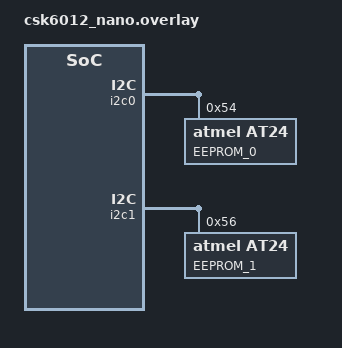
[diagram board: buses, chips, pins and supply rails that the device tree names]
/*
 * Copyright (c) 2023 Anhui(Shenzhen) Listenai Co., Ltd.
 *
 * SPDX-License-Identifier: Apache-2.0
 */
&pinctrl {
	/* I2C alternate function */
	pinctrl_i2c0_scl_default: i2c0_scl_default{
		pinctrls = <I2C0_SCL_GPIOA_10>;
	};

	pinctrl_i2c0_sda_default: i2c0_sda_default{
		pinctrls = <I2C0_SDA_GPIOA_11>;
	};

	pinctrl_i2c1_scl_default: i2c1_scl_default{
		pinctrls = <I2C1_SCL_GPIOA_13>;
	};

	pinctrl_i2c1_sda_default: i2c1_sda_default{
		pinctrls = <I2C1_SDA_GPIOA_12>;
	};

};

&i2c0 {
	status = "okay";
	pinctrl-0 = <&pinctrl_i2c0_scl_default &pinctrl_i2c0_sda_default>;
	pinctrl-names = "default";
	eeprom0: eeprom@54 {
		compatible = "atmel,at24";
		reg = <0x54>;
		label = "EEPROM_0";
		size = <1024>;
		pagesize = <16>;
		address-width = <8>;
		timeout = <5>;

	};
};

&i2c1 {
	status = "okay";
	pinctrl-0 = <&pinctrl_i2c1_scl_default &pinctrl_i2c1_sda_default>;
	pinctrl-names = "default";
	eeprom1: eeprom@56 {
		compatible = "atmel,at24";
		reg = <0x56>;
		label = "EEPROM_1";
		size = <1024>;
		pagesize = <16>;
		address-width = <8>;
		timeout = <5>;
	};
};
